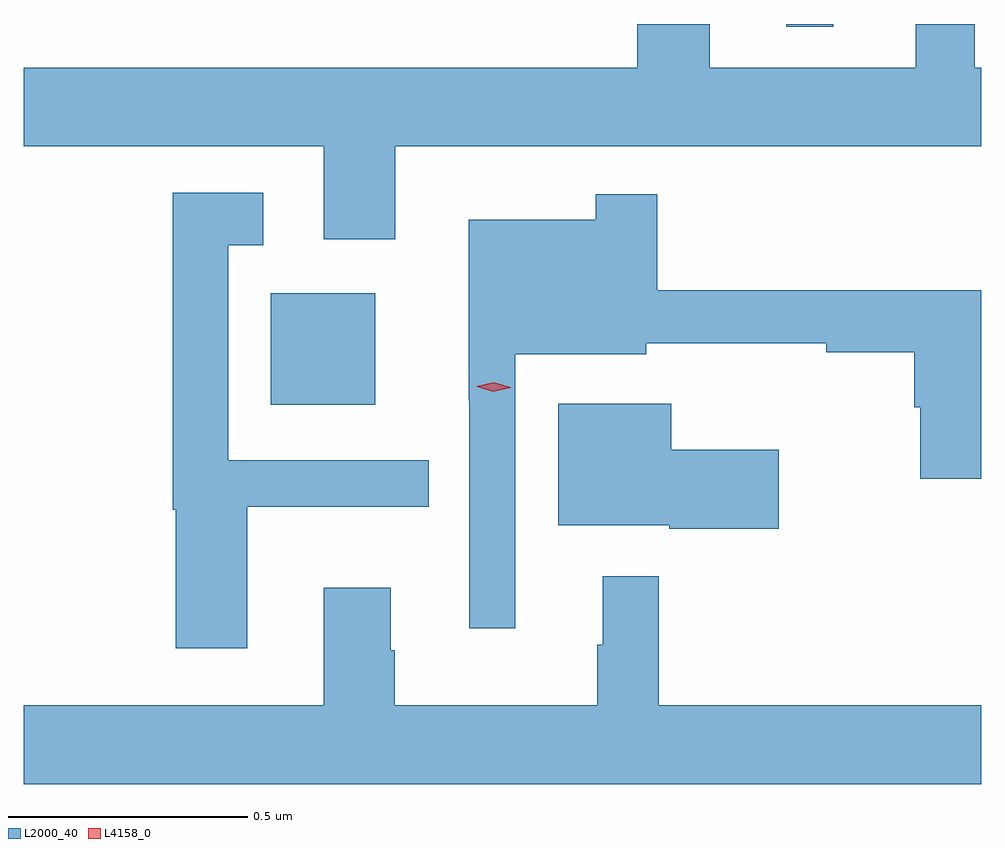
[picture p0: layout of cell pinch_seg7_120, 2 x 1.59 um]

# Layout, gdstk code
import gdstk
lib = gdstk.Library(unit=1e-6, precision=1e-09)
def R(c, l, rs):  # rectangles x0, y0, x1, y1
    for r in rs: c.add(gdstk.rectangle(r[:2], r[2:], *l))
def P(c, l, *ps):  # polygons
    for p in ps: c.add(gdstk.Polygon(p, *l))
L2000_40 = (2000, 40)
L4158_0 = (4158, 0)

pinch_seg7_120 = lib.new_cell('pinch_seg7_120')
R(pinch_seg7_120, L2000_40, [(881.936,1006.736,882.154,1006.969), (883.013,1007.525,883.111,1007.531)])
P(pinch_seg7_120, L2000_40, [(882.196,1007.276),(883.42,1007.276),(883.42,1007.44),(883.406,1007.44),(883.406,1007.531),(883.283,1007.531),(883.283,1007.44),(882.853,1007.44),(882.853,1007.531),(882.701,1007.531),(882.701,1007.44),(881.42,1007.44),(881.42,1007.276),(882.047,1007.276),(882.047,1007.082),(882.196,1007.082)],
  [(881.887,1006.523),(882.266,1006.523),(882.266,1006.62),(881.847,1006.62),(881.847,1007.069),(881.92,1007.069),(881.92,1007.179),(881.731,1007.179),(881.731,1006.517),(881.738,1006.517),(881.738,1006.227),(881.887,1006.227)],
  [(882.447,1006.841),(882.72,1006.841),(882.72,1006.864),(883.096,1006.864),(883.096,1006.846),(883.28,1006.846),(883.28,1006.731),(883.292,1006.731),(883.292,1006.581),(883.42,1006.581),(883.42,1006.975),(882.743,1006.975),(882.743,1007.176),(882.615,1007.176),(882.615,1007.122),(882.35,1007.122),(882.35,1006.745),(882.351,1006.745),(882.351,1006.269),(882.447,1006.269)],
  [(882.997,1006.642),(882.772,1006.642),(882.772,1006.738),(882.536,1006.738),(882.536,1006.484),(882.768,1006.484),(882.768,1006.477),(882.997,1006.477)],
  [(883.42,1006.108),(882.746,1006.108),(882.746,1006.378),(882.629,1006.378),(882.629,1006.235),(882.618,1006.235),(882.618,1006.108),(882.195,1006.108),(882.195,1006.223),(882.187,1006.223),(882.187,1006.354),(882.047,1006.354),(882.047,1006.108),(881.42,1006.108),(881.42,1005.944),(883.42,1005.944)])
P(pinch_seg7_120, L4158_0, [(882.401,1006.763),(882.366,1006.774),(882.366,1006.775),(882.366,1006.775),(882.402,1006.783),(882.437,1006.772),(882.437,1006.771),(882.437,1006.771)])

lib.write_gds('pinch_seg7_120.gds')
